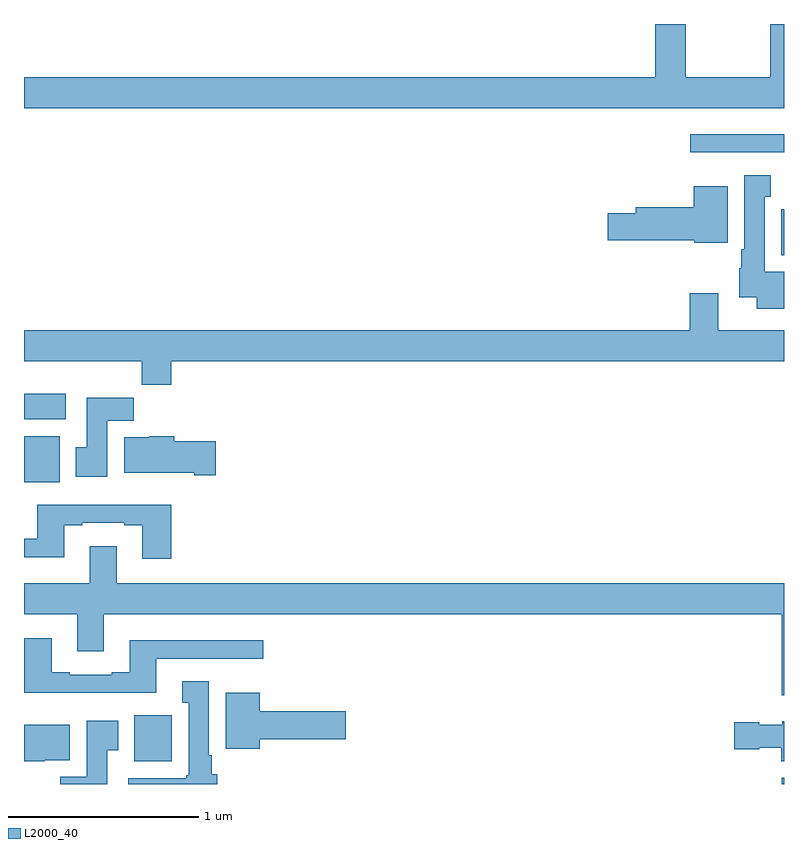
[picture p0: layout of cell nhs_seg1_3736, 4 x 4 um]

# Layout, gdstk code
import gdstk
lib = gdstk.Library(unit=1e-6, precision=1e-09)
def R(c, l, rs):  # rectangles x0, y0, x1, y1
    for r in rs: c.add(gdstk.rectangle(r[:2], r[2:], *l))
def P(c, l, *ps):  # polygons
    for p in ps: c.add(gdstk.Polygon(p, *l))
L2000_40 = (2000, 40)

nhs_seg1_3736 = lib.new_cell('nhs_seg1_3736')
R(nhs_seg1_3736, L2000_40, [(318.989,524.199,319,524.233), (315.581,524.318,315.778,524.56), (315,525.788,315.187,526.03), (315,526.118,315.22,526.252), (318.986,526.982,319,527.224), (318.507,527.523,319,527.62)])
P(nhs_seg1_3736, L2000_40, [(319,528.199),(318.928,528.199),(318.928,527.92),(318.483,527.92),(318.483,528.199),(318.323,528.199),(318.323,527.92),(315,527.92),(315,527.756),(319,527.756)],
  [(319,526.894),(318.898,526.894),(318.898,527.291),(318.931,527.291),(318.931,527.404),(318.791,527.404),(318.791,527.014),(318.776,527.014),(318.776,526.914),(318.764,526.914),(318.764,526.76),(318.857,526.76),(318.857,526.7),(319,526.7)],
  [(318.703,527.344),(318.524,527.344),(318.524,527.234),(318.221,527.234),(318.221,527.204),(318.072,527.204),(318.072,527.062),(318.528,527.062),(318.528,527.048),(318.703,527.048)],
  [(315.776,526.424),(319,526.424),(319,526.588),(318.655,526.588),(318.655,526.783),(318.503,526.783),(318.503,526.588),(315,526.588),(315,526.424),(315.619,526.424),(315.619,526.3),(315.776,526.3)],
  [(315.439,526.112),(315.578,526.112),(315.578,526.231),(315.329,526.231),(315.329,525.972),(315.272,525.972),(315.272,525.816),(315.439,525.816)],
  [(316.009,526.002),(315.791,526.002),(315.791,526.03),(315.66,526.03),(315.66,526.024),(315.527,526.024),(315.527,525.836),(315.896,525.836),(315.896,525.824),(316.009,525.824)],
  [(315.776,525.67),(315.071,525.67),(315.071,525.489),(315,525.489),(315,525.392),(315.211,525.392),(315.211,525.561),(315.307,525.561),(315.307,525.573),(315.527,525.573),(315.527,525.561),(315.623,525.561),(315.623,525.384),(315.776,525.384)],
  [(319,525.256),(315.487,525.256),(315.487,525.451),(315.347,525.451),(315.347,525.256),(315,525.256),(315,525.092),(315.281,525.092),(315.281,524.898),(315.421,524.898),(315.421,525.092),(318.989,525.092),(318.989,524.667),(319,524.667)],
  [(315.697,524.859),(316.258,524.859),(316.258,524.956),(315.557,524.956),(315.557,524.788),(315.461,524.788),(315.461,524.775),(315.241,524.775),(315.241,524.788),(315.145,524.788),(315.145,524.965),(315,524.965),(315,524.678),(315.697,524.678)],
  [(316.018,524.25),(315.988,524.25),(315.988,524.35),(315.973,524.35),(315.973,524.74),(315.833,524.74),(315.833,524.627),(315.866,524.627),(315.866,524.244),(315.853,524.244),(315.853,524.23),(315.549,524.23),(315.549,524.199),(316.018,524.199)],
  [(316.24,524.435),(316.693,524.435),(316.693,524.582),(316.24,524.582),(316.24,524.68),(316.061,524.68),(316.061,524.384),(316.24,524.384)],
  [(315.439,524.377),(315.496,524.377),(315.496,524.533),(315.329,524.533),(315.329,524.236),(315.19,524.236),(315.19,524.199),(315.439,524.199)],
  [(319,524.53),(318.99,524.53),(318.99,524.512),(318.87,524.512),(318.87,524.525),(318.738,524.525),(318.738,524.383),(318.87,524.383),(318.87,524.39),(318.986,524.39),(318.986,524.318),(319,524.318)],
  [(315.108,524.324),(315.241,524.324),(315.241,524.512),(315,524.512),(315,524.318),(315.108,524.318)])

lib.write_gds('nhs_seg1_3736.gds')
